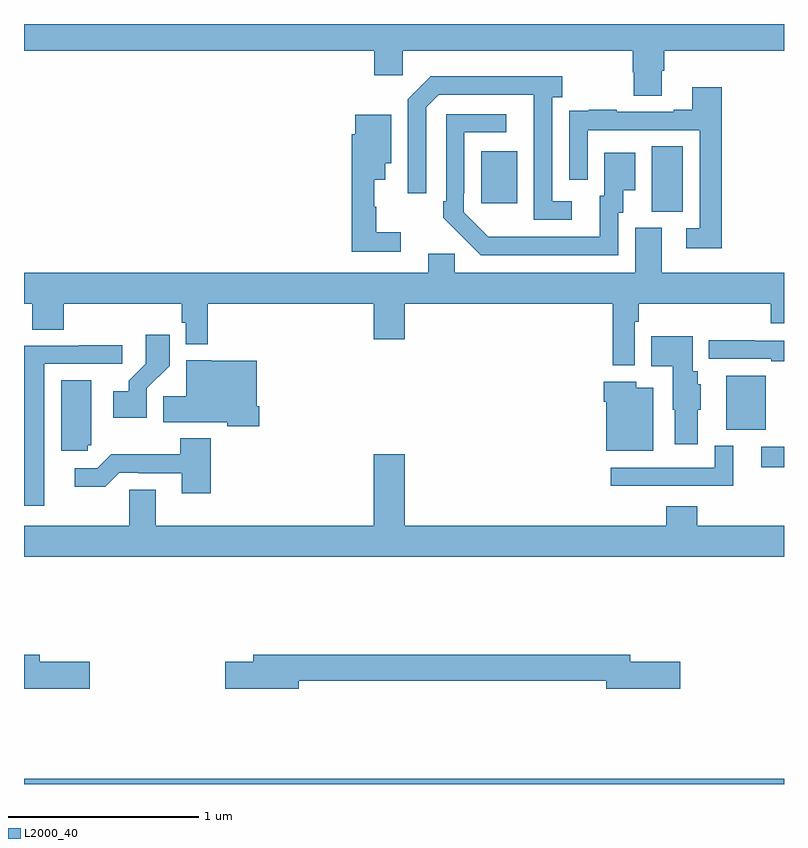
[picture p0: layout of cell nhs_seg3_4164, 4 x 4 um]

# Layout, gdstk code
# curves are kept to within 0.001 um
import gdstk
lib = gdstk.Library(unit=1e-6, precision=1e-09)
def R(c, l, rs):  # rectangles x0, y0, x1, y1
    for r in rs: c.add(gdstk.rectangle(r[:2], r[2:], *l))
def P(c, l, *ps):  # polygons
    for p in ps: c.add(gdstk.Polygon(p, *l))
L2000_40 = (2000, 40)

nhs_seg3_4164 = lib.new_cell('nhs_seg3_4164')
R(nhs_seg3_4164, L2000_40, [(331,686.4,335,686.428), (334.881,688.068,335,688.176), (334.697,688.265,334.903,688.549), (334.304,689.413,334.468,689.756), (333.407,689.457,333.595,689.731)])
P(nhs_seg3_4164, L2000_40, [(334.357,690.154),(334.37,690.154),(334.37,690.26),(335,690.26),(335,690.4),(331,690.4),(331,690.26),(332.843,690.26),(332.843,690.129),(332.994,690.129),(332.994,690.26),(334.205,690.26),(334.205,690.147),(334.21,690.147),(334.21,690.022),(334.357,690.022)],
  [(333.883,689.466),(333.78,689.466),(333.78,690.014),(333.832,690.014),(333.832,690.124),(333.142,690.124),(333.021,690.003),(333.021,689.508),(333.117,689.508),(333.117,689.961),(333.183,690.027),(333.683,690.027),(333.684,689.37),(333.883,689.37)],
  [(334.673,690.067),(334.517,690.067),(334.517,689.95),(334.421,689.95),(334.421,689.937),(334.121,689.937),(334.121,689.95),(333.973,689.95),(333.973,689.943),(333.871,689.943),(333.871,689.834),(333.87,689.834),(333.87,689.58),(333.966,689.58),(333.966,689.841),(334.557,689.841),(334.557,689.325),(334.485,689.325),(334.485,689.22),(334.673,689.22)],
  [(334.128,689.406),(334.153,689.406),(334.153,689.525),(334.216,689.525),(334.216,689.722),(334.055,689.722),(334.055,689.496),(334.031,689.496),(334.031,689.28),(333.444,689.281),(333.315,689.409),(333.315,689.509),(333.318,689.509),(333.318,689.829),(333.538,689.829),(333.538,689.925),(333.222,689.925),(333.222,689.467),(333.207,689.467),(333.207,689.379),(333.404,689.184),(334.128,689.184)],
  [(332.983,689.303),(332.854,689.303),(332.854,689.439),(332.843,689.439),(332.843,689.579),(332.902,689.579),(332.902,689.666),(332.932,689.666),(332.932,689.923),(332.744,689.923),(332.744,689.819),(332.725,689.819),(332.725,689.202),(332.983,689.202)],
  [(334.215,688.832),(334.235,688.832),(334.235,688.928),(334.931,688.928),(334.931,688.826),(335,688.826),(335,689.092),(334.357,689.092),(334.357,689.328),(334.217,689.328),(334.217,689.092),(333.267,689.092),(333.267,689.19),(333.128,689.19),(333.128,689.092),(331,689.092),(331,688.928),(331.043,688.928),(331.043,688.792),(331.208,688.792),(331.208,688.928),(331.831,688.928),(331.831,688.827),(331.851,688.827),(331.851,688.715),(331.967,688.715),(331.967,688.928),(332.84,688.928),(332.84,688.74),(333.004,688.74),(333.004,688.928),(334.099,688.928),(334.099,688.605),(334.215,688.605)],
  [(331.647,688.483),(331.766,688.602),(331.766,688.765),(331.641,688.765),(331.641,688.613),(331.55,688.523),(331.55,688.468),(331.47,688.468),(331.47,688.328),(331.647,688.328)],
  [(334.546,688.371),(334.561,688.371),(334.561,688.503),(334.546,688.503),(334.546,688.572),(334.519,688.572),(334.519,688.756),(334.3,688.756),(334.3,688.598),(334.415,688.598),(334.415,688.371),(334.424,688.371),(334.424,688.188),(334.546,688.188)],
  [(335,688.734),(334.847,688.734),(334.847,688.736),(334.605,688.736),(334.605,688.638),(334.934,688.638),(334.934,688.626),(335,688.626)],
  [(331.107,688.611),(331.516,688.611),(331.516,688.71),(331.291,688.71),(331.291,688.707),(331,688.707),(331,687.864),(331.107,687.864)],
  [(332.237,688.387),(332.224,688.387),(332.224,688.627),(331.986,688.627),(331.986,688.63),(331.853,688.63),(331.853,688.442),(331.732,688.442),(331.732,688.304),(332.07,688.304),(332.07,688.283),(332.237,688.283)],
  [(331.335,688.182),(331.354,688.182),(331.354,688.526),(331.196,688.526),(331.196,688.155),(331.335,688.155)],
  [(334.312,688.486),(334.222,688.486),(334.222,688.516),(334.052,688.516),(334.052,688.412),(334.064,688.412),(334.064,688.154),(334.312,688.154)],
  [(331.982,688.219),(331.822,688.219),(331.822,688.135),(331.459,688.135),(331.386,688.062),(331.266,688.062),(331.266,687.965),(331.427,687.965),(331.5,688.038),(331.6,688.038),(331.6,688.035),(331.829,688.035),(331.829,687.93),(331.982,687.93)],
  [(334.732,688.18),(334.635,688.18),(334.635,688.065),(334.089,688.065),(334.089,687.969),(334.732,687.969)],
  [(335,687.76),(334.544,687.76),(334.544,687.862),(334.379,687.862),(334.379,687.76),(333.004,687.76),(333.004,688.135),(332.84,688.135),(332.84,687.76),(331.693,687.76),(331.693,687.95),(331.554,687.95),(331.554,687.76),(331,687.76),(331,687.596),(335,687.596)],
  [(331.345,687.044),(331.084,687.044),(331.084,687.08),(331,687.08),(331,686.902),(331.345,686.902)],
  [(332.446,686.944),(334.064,686.944),(334.064,686.902),(334.453,686.902),(334.453,687.044),(334.192,687.044),(334.192,687.08),(332.207,687.08),(332.207,687.044),(332.058,687.044),(332.058,686.902),(332.446,686.902)])

lib.write_gds('nhs_seg3_4164.gds')
